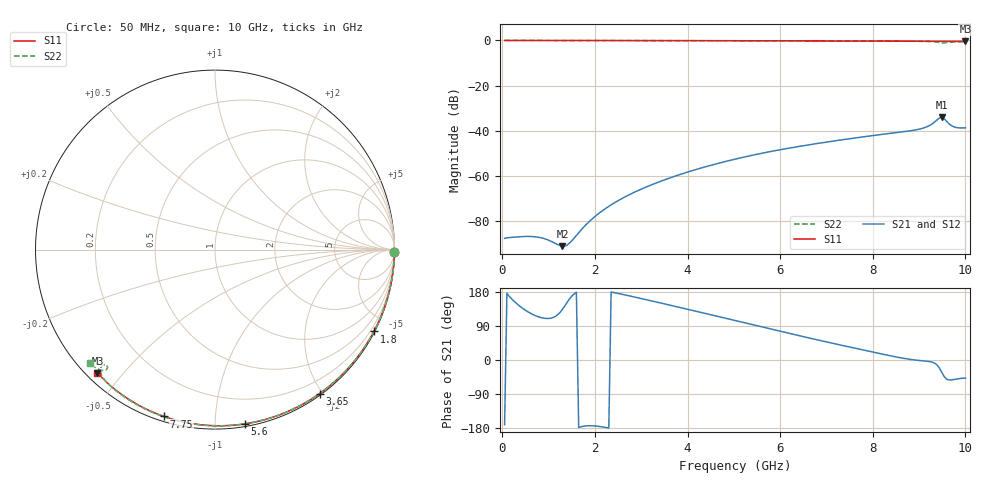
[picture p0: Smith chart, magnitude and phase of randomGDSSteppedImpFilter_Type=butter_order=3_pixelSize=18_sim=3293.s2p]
! freq	dB(S11)	phase(S11)	dB(S12)	phase(S12)
!  dB(S21)	phase(S21)	dB(S22)	phase(S22)
!S-par simulation data
#  GHz  S  DB  R 50
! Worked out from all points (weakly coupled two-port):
!   200 points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, 50 MHz to 10 GHz, reference 50 ohm
!   highest |S21| = -34.07 dB at 9.5 GHz (marker M1); lowest = -91.0 dB at 1.3 GHz (marker M2)
!   lowest |S11| = -0.5 dB at 10 GHz (marker M3), VSWR 38.28, Z = 1.55 - j21.4 ohm
!   |S11| at or under -10 dB: nowhere
!   |S22| runs from -1.1 to 0.0 dB; largest |S21 - S12| = 0
!   S11 on the Smith chart (normalised r, x): 50 MHz: open; 1.8 GHz: 0.04, -4.13; 3.65 GHz: 0.02, -1.96; 5.6 GHz: 0.02, -1.19; 7.75 GHz: 0.02, -0.74; 10 GHz: 0.03, -0.43
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0.05  -0.00 -0.8  -87.57 -171.0  -87.57 -171.0  -0.00 -0.8
1.3  -0.02 -19.8  -91.05 133.9  -91.05 133.9  -0.03 -20.7
1.75  -0.03 -26.5  -82.78 -174.7  -82.78 -174.7  -0.04 -27.7
1.8  -0.03 -27.2  -81.70 -173.8  -81.70 -173.8  -0.04 -28.5
1.9  -0.04 -28.7  -79.72 -173.4  -79.72 -173.4  -0.04 -30.0
2.25  -0.04 -33.9  -74.08 -178.4  -74.08 -178.4  -0.05 -35.4
2.65  -0.05 -39.7  -69.24 171.8  -69.24 171.8  -0.05 -41.5
3.4  -0.07 -50.5  -62.47 151.0  -62.47 151.0  -0.07 -52.7
3.65  -0.07 -54.0  -60.62 143.9  -60.62 143.9  -0.08 -56.3
4.3  -0.09 -63.0  -56.42 125.3  -56.42 125.3  -0.09 -65.7
5.05  -0.11 -73.0  -52.42 103.4  -52.42 103.4  -0.12 -76.2
5.6  -0.13 -80.2  -49.95 87.3  -49.95 87.3  -0.14 -83.6
6.7  -0.18 -94.2  -45.92 55.9  -45.92 55.9  -0.19 -98.1
7.75  -0.25 -107.0  -42.78 27.6  -42.78 27.6  -0.26 -111.5
8.35  -0.29 -114.1  -41.19 11.8  -41.19 11.8  -0.30 -119.1
9.1  -0.36 -123.0  -38.72 -2.4  -38.72 -2.4  -0.40 -129.0
9.35  -0.37 -125.9  -35.84 -9.2  -35.84 -9.2  -0.62 -133.3
9.45  -0.38 -127.1  -34.18 -23.4  -34.18 -23.4  -0.96 -134.2
9.5  -0.39 -127.7  -34.07 -34.9  -34.07 -34.9  -1.09 -133.3
9.65  -0.41 -129.5  -36.95 -52.7  -36.95 -52.7  -0.77 -132.6
9.75  -0.43 -130.7  -38.21 -51.4  -38.21 -51.4  -0.64 -134.0
10  -0.45 -133.6  -38.66 -47.8  -38.66 -47.8  -0.55 -137.7
